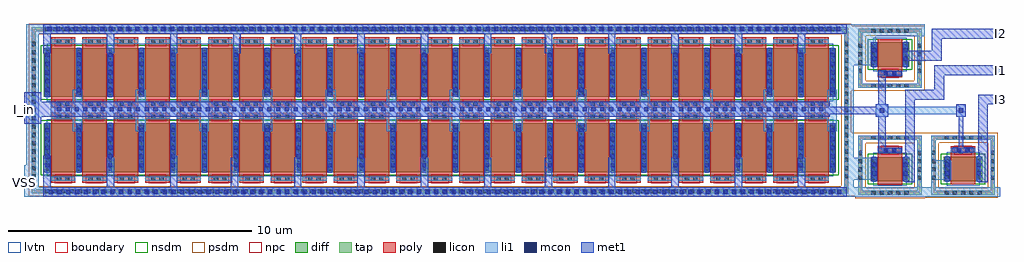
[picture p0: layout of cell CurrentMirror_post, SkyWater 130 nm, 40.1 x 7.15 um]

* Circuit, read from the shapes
.subckt CurrentMirror_post I1 I2 I3 I_in VSS
XM1 I_in I_in VSS VSS sky130_fd_pr__nfet_01v8_lvt w=2 l=1 m=50
XM2 I1 I_in VSS VSS sky130_fd_pr__nfet_01v8_lvt w=1 l=1
XM3 I2 I_in VSS VSS sky130_fd_pr__nfet_01v8_lvt w=1 l=1
XM4 I3 I_in VSS VSS sky130_fd_pr__nfet_01v8_lvt w=1 l=1
.ends

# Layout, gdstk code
import gdstk
lib = gdstk.Library(unit=1e-6, precision=1e-09)
def R(c, l, rs):  # rectangles x0, y0, x1, y1
    for r in rs: c.add(gdstk.rectangle(r[:2], r[2:], *l))
def A(c, l, x, y, w, h, nx, ny, dx, dy):  # array of equal rectangles
    R(c, l, [(x+i*dx, y+j*dy, x+i*dx+w, y+j*dy+h) for i in range(nx) for j in range(ny)])
diff = (65, 20)
tap = (65, 44)
poly = (66, 20)
licon = (66, 44)
li1 = (67, 20)
mcon = (67, 44)
met1 = (68, 20)
nsdm = (93, 44)
psdm = (94, 20)
npc = (95, 20)
lvtn = (125, 44)
boundary = (235, 4)

sky130_fd_pr__nfet_01v8_ = lib.new_cell('sky130_fd_pr__nfet_01v8_lvt_YND74Q')
R(sky130_fd_pr__nfet_01v8_, diff, [(-0.79,-0.655,0.79,0.345)])
R(sky130_fd_pr__nfet_01v8_, tap, [(-1.3,-1.215,1.3,-1.045), (-1.3,-1.045,-1.13,1.045), (1.13,-1.045,1.3,1.045), (-1.3,1.045,1.3,1.215)])
R(sky130_fd_pr__nfet_01v8_, poly, [(-0.5,-0.785,0.5,0.785)])
A(sky130_fd_pr__nfet_01v8_, licon, -0.765, -1.215, 0.17, 0.17, 5, 2, 0.34, 2.26)
A(sky130_fd_pr__nfet_01v8_, licon, -1.3, -0.595, 0.17, 0.17, 1, 4, 0, 0.34)
A(sky130_fd_pr__nfet_01v8_, licon, 1.13, -0.595, 0.17, 0.17, 1, 4, 0, 0.34)
A(sky130_fd_pr__nfet_01v8_, licon, -0.73, -0.58, 0.17, 0.17, 1, 3, 0, 0.34)
A(sky130_fd_pr__nfet_01v8_, licon, 0.56, -0.58, 0.17, 0.17, 1, 3, 0, 0.34)
R(sky130_fd_pr__nfet_01v8_, licon, [(-0.255,0.535,-0.085,0.705), (0.085,0.535,0.255,0.705)])
R(sky130_fd_pr__nfet_01v8_, li1, [(-1.3,-1.215,1.3,-1.045), (-1.3,-1.045,-1.13,1.045), (1.13,-1.045,1.3,1.045), (-0.73,-0.675,-0.56,0.365), (0.56,-0.675,0.73,0.365), (-0.5,0.535,0.5,0.705), (-1.3,1.045,1.3,1.215)])
R(sky130_fd_pr__nfet_01v8_, mcon, [(-0.73,-0.42,-0.56,-0.25), (0.56,-0.42,0.73,-0.25), (-0.73,-0.06,-0.56,0.11), (0.56,-0.06,0.73,0.11), (-0.265,0.535,-0.095,0.705), (0.095,0.535,0.265,0.705)])
R(sky130_fd_pr__nfet_01v8_, met1, [(-0.76,-0.655,-0.53,0.345), (0.53,-0.655,0.76,0.345), (-0.44,0.505,0.44,0.735)])
R(sky130_fd_pr__nfet_01v8_, nsdm, [(-0.915,-0.78,0.915,0.47)])
R(sky130_fd_pr__nfet_01v8_, psdm, [(-1.425,-1.34,1.425,-0.92), (-1.425,-0.92,-1.005,0.92), (1.005,-0.92,1.425,0.92), (-1.425,0.92,1.425,1.34)])
R(sky130_fd_pr__nfet_01v8_, npc, [(-0.355,0.435,0.355,0.805)])
R(sky130_fd_pr__nfet_01v8_, lvtn, [(-0.68,-0.835,0.68,0.525)])
R(sky130_fd_pr__nfet_01v8_, boundary, [(-1.215,-1.13,1.215,1.13)])

c_sky130_fd_pr__nfet_01v8_ = lib.new_cell('sky130_fd_pr__nfet_01v8_lvt_Q4Q8VJ')
R(c_sky130_fd_pr__nfet_01v8_, diff, [(-16.27,-2.545,16.27,-0.545), (-16.27,0.545,16.27,2.545)])
R(c_sky130_fd_pr__nfet_01v8_, tap, [(-16.78,-3.415,16.78,-3.245), (-16.78,-3.245,-16.61,3.245), (16.61,-3.245,16.78,3.245), (-16.78,3.245,16.78,3.415)])
A(c_sky130_fd_pr__nfet_01v8_, poly, -15.98, -2.985, 1, 2.88, 25, 2, 1.29, 3.09)
A(c_sky130_fd_pr__nfet_01v8_, licon, -16.235, -3.415, 0.17, 0.17, 96, 2, 0.34, 6.66)
A(c_sky130_fd_pr__nfet_01v8_, licon, -16.78, -2.805, 0.17, 0.17, 1, 17, 0, 0.34)
A(c_sky130_fd_pr__nfet_01v8_, licon, 16.61, -2.805, 0.17, 0.17, 1, 17, 0, 0.34)
A(c_sky130_fd_pr__nfet_01v8_, licon, -16.21, -2.48, 0.17, 0.17, 26, 6, 1.29, 0.34)
A(c_sky130_fd_pr__nfet_01v8_, licon, -16.21, 0.61, 0.17, 0.17, 26, 6, 1.29, 0.34)
R(c_sky130_fd_pr__nfet_01v8_, licon, [(-15.735,-2.905,-15.565,-2.735), (-15.395,-2.905,-15.225,-2.735), (-14.445,-2.905,-14.275,-2.735), (-14.105,-2.905,-13.935,-2.735), (-13.155,-2.905,-12.985,-2.735), (-12.815,-2.905,-12.645,-2.735), (-11.865,-2.905,-11.695,-2.735), (-11.525,-2.905,-11.355,-2.735), (-10.575,-2.905,-10.405,-2.735), (-10.235,-2.905,-10.065,-2.735), (-9.285,-2.905,-9.115,-2.735), (-8.945,-2.905,-8.775,-2.735), (-7.995,-2.905,-7.825,-2.735), (-7.655,-2.905,-7.485,-2.735), (-6.705,-2.905,-6.535,-2.735), (-6.365,-2.905,-6.195,-2.735), (-5.415,-2.905,-5.245,-2.735), (-5.075,-2.905,-4.905,-2.735), (-4.125,-2.905,-3.955,-2.735), (-3.785,-2.905,-3.615,-2.735), (-2.835,-2.905,-2.665,-2.735), (-2.495,-2.905,-2.325,-2.735), (-1.545,-2.905,-1.375,-2.735), (-1.205,-2.905,-1.035,-2.735), (-0.255,-2.905,-0.085,-2.735), (0.085,-2.905,0.255,-2.735), (1.035,-2.905,1.205,-2.735), (1.375,-2.905,1.545,-2.735), (2.325,-2.905,2.495,-2.735), (2.665,-2.905,2.835,-2.735), (3.615,-2.905,3.785,-2.735), (3.955,-2.905,4.125,-2.735), (4.905,-2.905,5.075,-2.735), (5.245,-2.905,5.415,-2.735), (6.195,-2.905,6.365,-2.735), (6.535,-2.905,6.705,-2.735), (7.485,-2.905,7.655,-2.735), (7.825,-2.905,7.995,-2.735), (8.775,-2.905,8.945,-2.735), (9.115,-2.905,9.285,-2.735), (10.065,-2.905,10.235,-2.735), (10.405,-2.905,10.575,-2.735), (11.355,-2.905,11.525,-2.735), (11.695,-2.905,11.865,-2.735), (12.645,-2.905,12.815,-2.735), (12.985,-2.905,13.155,-2.735), (13.935,-2.905,14.105,-2.735), (14.275,-2.905,14.445,-2.735), (15.225,-2.905,15.395,-2.735), (15.565,-2.905,15.735,-2.735), (-15.735,-0.355,-15.565,-0.185), (-15.395,-0.355,-15.225,-0.185), (-14.445,-0.355,-14.275,-0.185), (-14.105,-0.355,-13.935,-0.185), (-13.155,-0.355,-12.985,-0.185), (-12.815,-0.355,-12.645,-0.185), (-11.865,-0.355,-11.695,-0.185), (-11.525,-0.355,-11.355,-0.185), (-10.575,-0.355,-10.405,-0.185), (-10.235,-0.355,-10.065,-0.185), (-9.285,-0.355,-9.115,-0.185), (-8.945,-0.355,-8.775,-0.185), (-7.995,-0.355,-7.825,-0.185), (-7.655,-0.355,-7.485,-0.185), (-6.705,-0.355,-6.535,-0.185), (-6.365,-0.355,-6.195,-0.185), (-5.415,-0.355,-5.245,-0.185), (-5.075,-0.355,-4.905,-0.185), (-4.125,-0.355,-3.955,-0.185), (-3.785,-0.355,-3.615,-0.185), (-2.835,-0.355,-2.665,-0.185), (-2.495,-0.355,-2.325,-0.185), (-1.545,-0.355,-1.375,-0.185), (-1.205,-0.355,-1.035,-0.185), (-0.255,-0.355,-0.085,-0.185), (0.085,-0.355,0.255,-0.185), (1.035,-0.355,1.205,-0.185), (1.375,-0.355,1.545,-0.185), (2.325,-0.355,2.495,-0.185), (2.665,-0.355,2.835,-0.185), (3.615,-0.355,3.785,-0.185), (3.955,-0.355,4.125,-0.185), (4.905,-0.355,5.075,-0.185), (5.245,-0.355,5.415,-0.185), (6.195,-0.355,6.365,-0.185), (6.535,-0.355,6.705,-0.185), (7.485,-0.355,7.655,-0.185), (7.825,-0.355,7.995,-0.185), (8.775,-0.355,8.945,-0.185), (9.115,-0.355,9.285,-0.185), (10.065,-0.355,10.235,-0.185), (10.405,-0.355,10.575,-0.185), (11.355,-0.355,11.525,-0.185), (11.695,-0.355,11.865,-0.185), (12.645,-0.355,12.815,-0.185), (12.985,-0.355,13.155,-0.185), (13.935,-0.355,14.105,-0.185), (14.275,-0.355,14.445,-0.185), (15.225,-0.355,15.395,-0.185), (15.565,-0.355,15.735,-0.185), (-15.735,0.185,-15.565,0.355), (-15.395,0.185,-15.225,0.355), (-14.445,0.185,-14.275,0.355), (-14.105,0.185,-13.935,0.355), (-13.155,0.185,-12.985,0.355), (-12.815,0.185,-12.645,0.355), (-11.865,0.185,-11.695,0.355), (-11.525,0.185,-11.355,0.355), (-10.575,0.185,-10.405,0.355), (-10.235,0.185,-10.065,0.355), (-9.285,0.185,-9.115,0.355), (-8.945,0.185,-8.775,0.355), (-7.995,0.185,-7.825,0.355), (-7.655,0.185,-7.485,0.355), (-6.705,0.185,-6.535,0.355), (-6.365,0.185,-6.195,0.355), (-5.415,0.185,-5.245,0.355), (-5.075,0.185,-4.905,0.355), (-4.125,0.185,-3.955,0.355), (-3.785,0.185,-3.615,0.355), (-2.835,0.185,-2.665,0.355), (-2.495,0.185,-2.325,0.355), (-1.545,0.185,-1.375,0.355), (-1.205,0.185,-1.035,0.355), (-0.255,0.185,-0.085,0.355), (0.085,0.185,0.255,0.355), (1.035,0.185,1.205,0.355), (1.375,0.185,1.545,0.355), (2.325,0.185,2.495,0.355), (2.665,0.185,2.835,0.355), (3.615,0.185,3.785,0.355), (3.955,0.185,4.125,0.355), (4.905,0.185,5.075,0.355), (5.245,0.185,5.415,0.355), (6.195,0.185,6.365,0.355), (6.535,0.185,6.705,0.355), (7.485,0.185,7.655,0.355), (7.825,0.185,7.995,0.355), (8.775,0.185,8.945,0.355), (9.115,0.185,9.285,0.355), (10.065,0.185,10.235,0.355), (10.405,0.185,10.575,0.355), (11.355,0.185,11.525,0.355), (11.695,0.185,11.865,0.355), (12.645,0.185,12.815,0.355), (12.985,0.185,13.155,0.355), (13.935,0.185,14.105,0.355), (14.275,0.185,14.445,0.355), (15.225,0.185,15.395,0.355), (15.565,0.185,15.735,0.355), (-15.735,2.735,-15.565,2.905), (-15.395,2.735,-15.225,2.905), (-14.445,2.735,-14.275,2.905), (-14.105,2.735,-13.935,2.905), (-13.155,2.735,-12.985,2.905), (-12.815,2.735,-12.645,2.905), (-11.865,2.735,-11.695,2.905), (-11.525,2.735,-11.355,2.905), (-10.575,2.735,-10.405,2.905), (-10.235,2.735,-10.065,2.905), (-9.285,2.735,-9.115,2.905), (-8.945,2.735,-8.775,2.905), (-7.995,2.735,-7.825,2.905), (-7.655,2.735,-7.485,2.905), (-6.705,2.735,-6.535,2.905), (-6.365,2.735,-6.195,2.905), (-5.415,2.735,-5.245,2.905), (-5.075,2.735,-4.905,2.905), (-4.125,2.735,-3.955,2.905), (-3.785,2.735,-3.615,2.905), (-2.835,2.735,-2.665,2.905), (-2.495,2.735,-2.325,2.905), (-1.545,2.735,-1.375,2.905), (-1.205,2.735,-1.035,2.905), (-0.255,2.735,-0.085,2.905), (0.085,2.735,0.255,2.905), (1.035,2.735,1.205,2.905), (1.375,2.735,1.545,2.905), (2.325,2.735,2.495,2.905), (2.665,2.735,2.835,2.905), (3.615,2.735,3.785,2.905), (3.955,2.735,4.125,2.905), (4.905,2.735,5.075,2.905), (5.245,2.735,5.415,2.905), (6.195,2.735,6.365,2.905), (6.535,2.735,6.705,2.905), (7.485,2.735,7.655,2.905), (7.825,2.735,7.995,2.905), (8.775,2.735,8.945,2.905), (9.115,2.735,9.285,2.905), (10.065,2.735,10.235,2.905), (10.405,2.735,10.575,2.905), (11.355,2.735,11.525,2.905), (11.695,2.735,11.865,2.905), (12.645,2.735,12.815,2.905), (12.985,2.735,13.155,2.905), (13.935,2.735,14.105,2.905), (14.275,2.735,14.445,2.905), (15.225,2.735,15.395,2.905), (15.565,2.735,15.735,2.905)])
A(c_sky130_fd_pr__nfet_01v8_, li1, -15.98, -2.905, 1, 0.17, 25, 2, 1.29, 2.55)
A(c_sky130_fd_pr__nfet_01v8_, li1, -16.21, -2.565, 0.17, 2.04, 26, 2, 1.29, 3.09)
A(c_sky130_fd_pr__nfet_01v8_, li1, -15.98, 0.185, 1, 0.17, 25, 2, 1.29, 2.55)
R(c_sky130_fd_pr__nfet_01v8_, li1, [(-16.78,-3.415,16.78,-3.245), (-16.78,-3.245,-16.61,3.245), (16.61,-3.245,16.78,3.245), (-16.78,3.245,16.78,3.415)])
A(c_sky130_fd_pr__nfet_01v8_, mcon, -16.21, -2.35, 0.17, 0.17, 26, 5, 1.29, 0.36)
A(c_sky130_fd_pr__nfet_01v8_, mcon, -16.21, 0.74, 0.17, 0.17, 26, 5, 1.29, 0.36)
A(c_sky130_fd_pr__nfet_01v8_, met1, -16.24, -2.545, 0.23, 2, 26, 2, 1.29, 3.09)
R(c_sky130_fd_pr__nfet_01v8_, nsdm, [(-16.395,-2.67,16.395,-0.42), (-16.395,0.42,16.395,2.67)])
R(c_sky130_fd_pr__nfet_01v8_, psdm, [(-16.905,-3.54,16.905,-3.12), (-16.905,-3.12,-16.485,3.12), (16.485,-3.12,16.905,3.12), (-16.905,3.12,16.905,3.54)])
A(c_sky130_fd_pr__nfet_01v8_, npc, -15.835, -3.005, 0.71, 0.37, 25, 2, 1.29, 5.64)
A(c_sky130_fd_pr__nfet_01v8_, npc, -15.835, -0.455, 0.71, 0.91, 25, 1, 1.29, 0)
R(c_sky130_fd_pr__nfet_01v8_, lvtn, [(-16.16,-2.725,16.16,-0.365), (-16.16,0.365,16.16,2.725)])
R(c_sky130_fd_pr__nfet_01v8_, boundary, [(-16.695,-3.33,16.695,3.33)])

c_sky130_fd_pr__nfet_01v8__ = lib.new_cell('sky130_fd_pr__nfet_01v8_lvt_U4BYG2')
R(c_sky130_fd_pr__nfet_01v8__, diff, [(-0.79,-0.345,0.79,0.655)])
R(c_sky130_fd_pr__nfet_01v8__, tap, [(-1.3,-1.215,1.3,-1.045), (-1.3,-1.045,-1.13,1.045), (1.13,-1.045,1.3,1.045), (-1.3,1.045,1.3,1.215)])
R(c_sky130_fd_pr__nfet_01v8__, poly, [(-0.5,-0.785,0.5,0.785)])
A(c_sky130_fd_pr__nfet_01v8__, licon, -0.765, -1.215, 0.17, 0.17, 5, 2, 0.34, 2.26)
A(c_sky130_fd_pr__nfet_01v8__, licon, -1.3, -0.595, 0.17, 0.17, 1, 4, 0, 0.34)
A(c_sky130_fd_pr__nfet_01v8__, licon, 1.13, -0.595, 0.17, 0.17, 1, 4, 0, 0.34)
A(c_sky130_fd_pr__nfet_01v8__, licon, -0.73, -0.27, 0.17, 0.17, 1, 3, 0, 0.34)
A(c_sky130_fd_pr__nfet_01v8__, licon, 0.56, -0.27, 0.17, 0.17, 1, 3, 0, 0.34)
R(c_sky130_fd_pr__nfet_01v8__, licon, [(-0.255,-0.705,-0.085,-0.535), (0.085,-0.705,0.255,-0.535)])
R(c_sky130_fd_pr__nfet_01v8__, li1, [(-1.3,-1.215,1.3,-1.045), (-1.3,-1.045,-1.13,1.045), (1.13,-1.045,1.3,1.045), (-0.5,-0.705,0.5,-0.535), (-0.73,-0.365,-0.56,0.675), (0.56,-0.365,0.73,0.675), (-1.3,1.045,1.3,1.215)])
R(c_sky130_fd_pr__nfet_01v8__, mcon, [(-0.265,-0.705,-0.095,-0.535), (0.095,-0.705,0.265,-0.535), (-0.73,-0.11,-0.56,0.06), (0.56,-0.11,0.73,0.06), (-0.73,0.25,-0.56,0.42), (0.56,0.25,0.73,0.42)])
R(c_sky130_fd_pr__nfet_01v8__, met1, [(-0.48,-0.735,0.48,-0.505), (-0.76,-0.345,-0.53,0.655), (0.53,-0.345,0.76,0.655)])
R(c_sky130_fd_pr__nfet_01v8__, nsdm, [(-0.915,-0.47,0.915,0.78)])
R(c_sky130_fd_pr__nfet_01v8__, psdm, [(-1.425,-1.34,1.425,-0.92), (-1.425,-0.92,-1.005,0.92), (1.005,-0.92,1.425,0.92), (-1.425,0.92,1.425,1.34)])
R(c_sky130_fd_pr__nfet_01v8__, npc, [(-0.355,-0.805,0.355,-0.435)])
R(c_sky130_fd_pr__nfet_01v8__, lvtn, [(-0.68,-0.525,0.68,0.835)])
R(c_sky130_fd_pr__nfet_01v8__, boundary, [(-1.215,-1.13,1.215,1.13)])

c_sky130_fd_pr__nfet_01v8___ = lib.new_cell('sky130_fd_pr__nfet_01v8_lvt_UJUP4X')
R(c_sky130_fd_pr__nfet_01v8___, diff, [(-0.79,-0.655,0.79,0.345)])
R(c_sky130_fd_pr__nfet_01v8___, tap, [(-1.3,-1.215,1.3,-1.045), (-1.3,-1.045,-1.13,1.045), (1.13,-1.045,1.3,1.045), (-1.3,1.045,1.3,1.215)])
R(c_sky130_fd_pr__nfet_01v8___, poly, [(-0.5,-0.785,0.5,0.785)])
A(c_sky130_fd_pr__nfet_01v8___, licon, -0.765, -1.215, 0.17, 0.17, 5, 2, 0.34, 2.26)
A(c_sky130_fd_pr__nfet_01v8___, licon, -1.3, -0.595, 0.17, 0.17, 1, 4, 0, 0.34)
A(c_sky130_fd_pr__nfet_01v8___, licon, 1.13, -0.595, 0.17, 0.17, 1, 4, 0, 0.34)
A(c_sky130_fd_pr__nfet_01v8___, licon, -0.73, -0.58, 0.17, 0.17, 1, 3, 0, 0.34)
A(c_sky130_fd_pr__nfet_01v8___, licon, 0.56, -0.58, 0.17, 0.17, 1, 3, 0, 0.34)
R(c_sky130_fd_pr__nfet_01v8___, licon, [(-0.255,0.535,-0.085,0.705), (0.085,0.535,0.255,0.705)])
R(c_sky130_fd_pr__nfet_01v8___, li1, [(-1.3,-1.215,1.3,-1.045), (-1.3,-1.045,-1.13,1.045), (1.13,-1.045,1.3,1.045), (-0.73,-0.675,-0.56,0.365), (0.56,-0.675,0.73,0.365), (-0.5,0.535,0.5,0.705), (-1.3,1.045,1.3,1.215)])
R(c_sky130_fd_pr__nfet_01v8___, mcon, [(-0.73,-0.42,-0.56,-0.25), (0.56,-0.42,0.73,-0.25), (-0.73,-0.06,-0.56,0.11), (0.56,-0.06,0.73,0.11), (-0.265,0.535,-0.095,0.705), (0.095,0.535,0.265,0.705)])
R(c_sky130_fd_pr__nfet_01v8___, met1, [(-0.76,-0.655,-0.53,0.345), (0.53,-0.655,0.76,0.345), (-0.48,0.505,0.48,0.735)])
R(c_sky130_fd_pr__nfet_01v8___, nsdm, [(-0.915,-0.78,0.915,0.47)])
R(c_sky130_fd_pr__nfet_01v8___, psdm, [(-1.425,-1.34,1.425,-0.92), (-1.425,-0.92,-1.005,0.92), (1.005,-0.92,1.425,0.92), (-1.425,0.92,1.425,1.34)])
R(c_sky130_fd_pr__nfet_01v8___, npc, [(-0.355,0.435,0.355,0.805)])
R(c_sky130_fd_pr__nfet_01v8___, lvtn, [(-0.68,-0.835,0.68,0.525)])
R(c_sky130_fd_pr__nfet_01v8___, boundary, [(-1.215,-1.13,1.215,1.13)])

currentmirror_post = lib.new_cell('CurrentMirror_post')
A(currentmirror_post, li1, 4.3, 5.2, 0.4, 0.6, 5, 1, 2.6, 0)
A(currentmirror_post, li1, 17.2, 5.2, 0.4, 0.6, 6, 1, 2.6, 0)
A(currentmirror_post, li1, 4.3, 6.4, 0.4, 0.5, 5, 1, 2.6, 0)
A(currentmirror_post, li1, 17.2, 6.4, 0.4, 0.5, 6, 1, 2.6, 0)
R(currentmirror_post, li1, [(2.3,2.5,42.4,2.9), (2.3,2.9,2.9,3.8), (36,2.9,36.4,3.2), (36,3.2,37.3,4.1), (39.6,3.2,40.4,4), (2.4,3.8,2.9,9.2), (36,4.1,36.4,7.9), (32.7,5.2,33.1,5.8), (35.3,5.2,35.7,5.8), (3.4,5.8,35.7,6.4), (37.3,5.8,37.8,5.9), (40.6,5.8,41,5.9), (37.3,5.9,41,6.2), (37.3,6.2,37.8,6.3), (40.6,6.2,41,6.3), (32.7,6.4,33.1,6.9), (35.3,6.4,35.7,6.9), (36,7.9,37.3,9.1), (36,9.1,39.3,9.2), (2.4,9.2,39.3,9.6)])
A(currentmirror_post, mcon, 3.315, 2.615, 0.17, 0.17, 91, 1, 0.36, 0)
A(currentmirror_post, mcon, 3.655, 6.015, 0.17, 0.17, 88, 1, 0.36, 0)
A(currentmirror_post, mcon, 3.265, 9.315, 0.17, 0.17, 91, 1, 0.36, 0)
R(currentmirror_post, mcon, [(37.465,5.965,37.635,6.135), (40.715,5.965,40.885,6.135)])
A(currentmirror_post, met1, 10.8, 2.9, 0.3, 1.2, 5, 1, 2.6, 0)
A(currentmirror_post, met1, 23.7, 2.9, 0.3, 1.2, 5, 1, 2.6, 0)
A(currentmirror_post, met1, 3.1, 8.4, 0.3, 0.8, 4, 1, 2.6, 0)
A(currentmirror_post, met1, 13.4, 8.4, 0.3, 0.8, 4, 1, 2.6, 0)
A(currentmirror_post, met1, 23.7, 8.4, 0.3, 0.8, 5, 1, 2.6, 0)
R(currentmirror_post, met1, [(3.1,2.5,36.1,2.9), (3.1,2.9,3.4,4.2), (5.7,2.9,6,4.1), (8.3,2.9,8.6,4.2), (38.5,3.1,38.9,6.5), (41.5,3.1,41.9,6.3), (37.4,4.3,37.7,5.8), (40.7,4.3,40.9,5.8), (2.3,5.5,3,5.8), (2.3,5.8,35.4,5.9), (37.3,5.8,37.8,5.9), (40.6,5.8,41,6.3), (2.3,5.9,37.8,6.2), (2.3,6.2,35.4,6.4), (37.3,6.2,37.8,6.3), (37.4,6.3,37.7,7.7), (41.5,6.3,42.4,6.7), (2.3,6.4,3,6.8), (38.5,6.5,40.1,6.9), (39.7,6.9,40.1,7.5), (39.7,7.5,42.4,7.9), (38.5,8.1,40,8.5), (39.6,8.5,40,9), (39.6,9,42.4,9.4), (3.1,9.2,36.1,9.6)])
R(currentmirror_post, psdm, [(39.305,2.46,39.46,5.135), (36.295,2.525,36.455,5.135), (36.295,6.855,36.455,9.535)])
currentmirror_post.add(gdstk.Reference(sky130_fd_pr__nfet_01v8_, (40.885,3.8)))
currentmirror_post.add(gdstk.Reference(c_sky130_fd_pr__nfet_01v8_, (19.39,6.065)))
currentmirror_post.add(gdstk.Reference(c_sky130_fd_pr__nfet_01v8__, (37.88,8.195)))
currentmirror_post.add(gdstk.Reference(c_sky130_fd_pr__nfet_01v8___, (37.88,3.795)))
currentmirror_post.add(gdstk.Label('I2', (42.4,9.2), layer=68, texttype=16))
currentmirror_post.add(gdstk.Label('I_in', (2.3,6.1), layer=68, texttype=16))
currentmirror_post.add(gdstk.Label('I1', (42.4,7.7), layer=68, texttype=16))
currentmirror_post.add(gdstk.Label('VSS', (2.3,3.1), layer=67, texttype=16))
currentmirror_post.add(gdstk.Label('I3', (42.4,6.5), layer=68, texttype=16))

lib.write_gds('CurrentMirror_post.gds')
